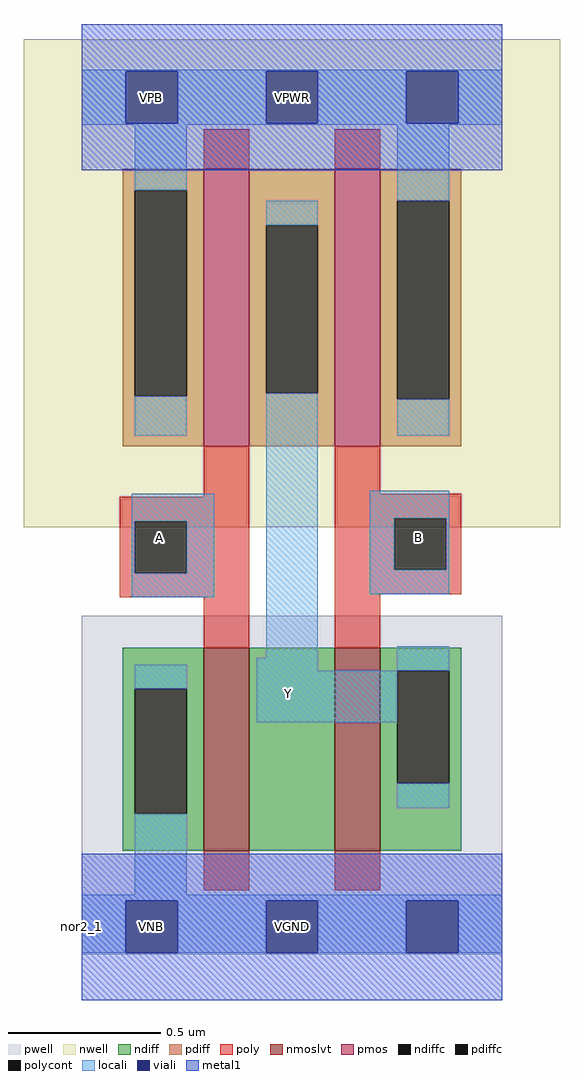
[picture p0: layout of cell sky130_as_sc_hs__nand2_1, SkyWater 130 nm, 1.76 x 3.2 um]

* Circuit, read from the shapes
.subckt sky130_as_sc_hs__nand2_1 VNB VPB VPWR VGND B A Y
XM1 n1 A VGND VNB sky130_fd_pr__nfet_01v8_lvt w=0.665 l=0.15
XM2 Y B n1 VNB sky130_fd_pr__nfet_01v8_lvt w=0.665 l=0.15
XM3 Y A VPWR VPB sky130_fd_pr__pfet_01v8 w=0.91 l=0.15
XM4 VPWR B Y VPB sky130_fd_pr__pfet_01v8 w=0.91 l=0.15
.ends

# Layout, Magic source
magic
tech sky130A
magscale 1 2
<< nwell >>
rect -38 262 314 582
<< pwell >>
rect 0 -18 276 204
<< pmos >>
rect 80 315 110 497
rect 166 315 196 497
<< nmoslvt >>
rect 80 50 110 183
rect 166 50 196 183
<< ndiff >>
rect 27 156 80 183
rect 27 74 35 156
rect 69 74 80 156
rect 27 50 80 74
rect 110 50 166 183
rect 196 168 249 183
rect 196 94 207 168
rect 241 94 249 168
rect 196 50 249 94
<< pdiff >>
rect 27 483 80 497
rect 27 348 35 483
rect 69 348 80 483
rect 27 315 80 348
rect 110 460 166 497
rect 110 350 121 460
rect 155 350 166 460
rect 110 315 166 350
rect 196 476 249 497
rect 196 346 207 476
rect 241 346 249 476
rect 196 315 249 346
<< ndiffc >>
rect 35 74 69 156
rect 207 94 241 168
<< pdiffc >>
rect 35 348 69 483
rect 121 350 155 460
rect 207 346 241 476
<< poly >>
rect 80 497 110 523
rect 166 497 196 523
rect 80 282 110 315
rect 25 266 110 282
rect 25 232 35 266
rect 69 232 110 266
rect 25 216 110 232
rect 80 183 110 216
rect 166 284 196 315
rect 166 268 249 284
rect 166 234 205 268
rect 239 234 249 268
rect 166 218 249 234
rect 166 183 196 218
rect 80 24 110 50
rect 166 24 196 50
<< polycont >>
rect 35 232 69 266
rect 205 234 239 268
<< locali >>
rect 0 561 276 562
rect 0 527 29 561
rect 63 527 121 561
rect 155 527 213 561
rect 247 527 276 561
rect 0 526 276 527
rect 35 483 69 526
rect 207 476 241 526
rect 35 322 69 348
rect 121 460 155 476
rect 33 266 87 284
rect 33 232 35 266
rect 69 232 87 266
rect 33 216 87 232
rect 121 176 155 350
rect 207 322 241 346
rect 189 268 241 286
rect 189 234 205 268
rect 239 234 241 268
rect 189 218 241 234
rect 35 156 69 172
rect 115 168 155 176
rect 207 168 241 184
rect 115 134 207 168
rect 207 78 241 94
rect 35 21 69 74
rect 0 17 276 21
rect 0 -17 29 17
rect 63 -17 121 17
rect 155 -17 213 17
rect 247 -17 276 17
<< viali >>
rect 29 527 63 561
rect 121 527 155 561
rect 213 527 247 561
rect 29 -17 63 17
rect 121 -17 155 17
rect 213 -17 247 17
<< metal1 >>
rect 0 561 276 592
rect 0 527 29 561
rect 63 527 121 561
rect 155 527 213 561
rect 247 527 276 561
rect 0 496 276 527
rect 0 17 276 48
rect 0 -17 29 17
rect 63 -17 121 17
rect 155 -17 213 17
rect 247 -17 276 17
rect 0 -48 276 -17
<< labels >>
rlabel comment s 0 0 0 0 4 nor2_1
flabel pwell s 29 -17 63 17 0 FreeSans 200 0 0 0 VNB
port 1 nsew ground bidirectional
flabel pwell s 46 0 46 0 0 FreeSans 200 0 0 0 VNB
flabel nwell s 29 527 63 561 0 FreeSans 200 0 0 0 VPB
port 2 nsew power bidirectional
flabel nwell s 46 544 46 544 0 FreeSans 200 0 0 0 VPB
flabel metal1 s 29 527 63 561 0 FreeSans 200 0 0 0 VPWR
port 3 nsew power bidirectional abutment
flabel metal1 s 29 -17 63 17 0 FreeSans 200 0 0 0 VGND
port 4 nsew ground bidirectional abutment
rlabel metal1 s 0 -48 276 48 1 VGND
port 4 nsew ground bidirectional abutment
rlabel metal1 s 0 496 276 592 1 VPWR
port 3 nsew power bidirectional abutment
flabel locali s 34 238 68 272 0 FreeSans 200 0 0 0 A
port 6 nsew signal input
flabel locali s 51 255 51 255 0 FreeSans 200 0 0 0 A
flabel locali s 204 238 238 272 0 FreeSans 200 0 0 0 B
port 5 nsew signal input
flabel locali s 221 255 221 255 0 FreeSans 200 0 0 0 B
flabel locali s 119 136 153 170 0 FreeSans 200 0 0 0 Y
port 7 nsew signal output
flabel locali 136 153 136 153 0 FreeSans 200 0 0 0 Y
<< properties >>
string FIXED_BBOX 0 0 276 544
string GDS_FILE $PDKPATH/libs.ref/sky130_as_sc_hs/gds/sky130_as_sc_hs__nor2_1.mag
string LEFclass CORE
string LEFsite unithd
string LEFsymmetry X Y R90
string path 0.000 0.000 6.900 0.000 
<< end >>
